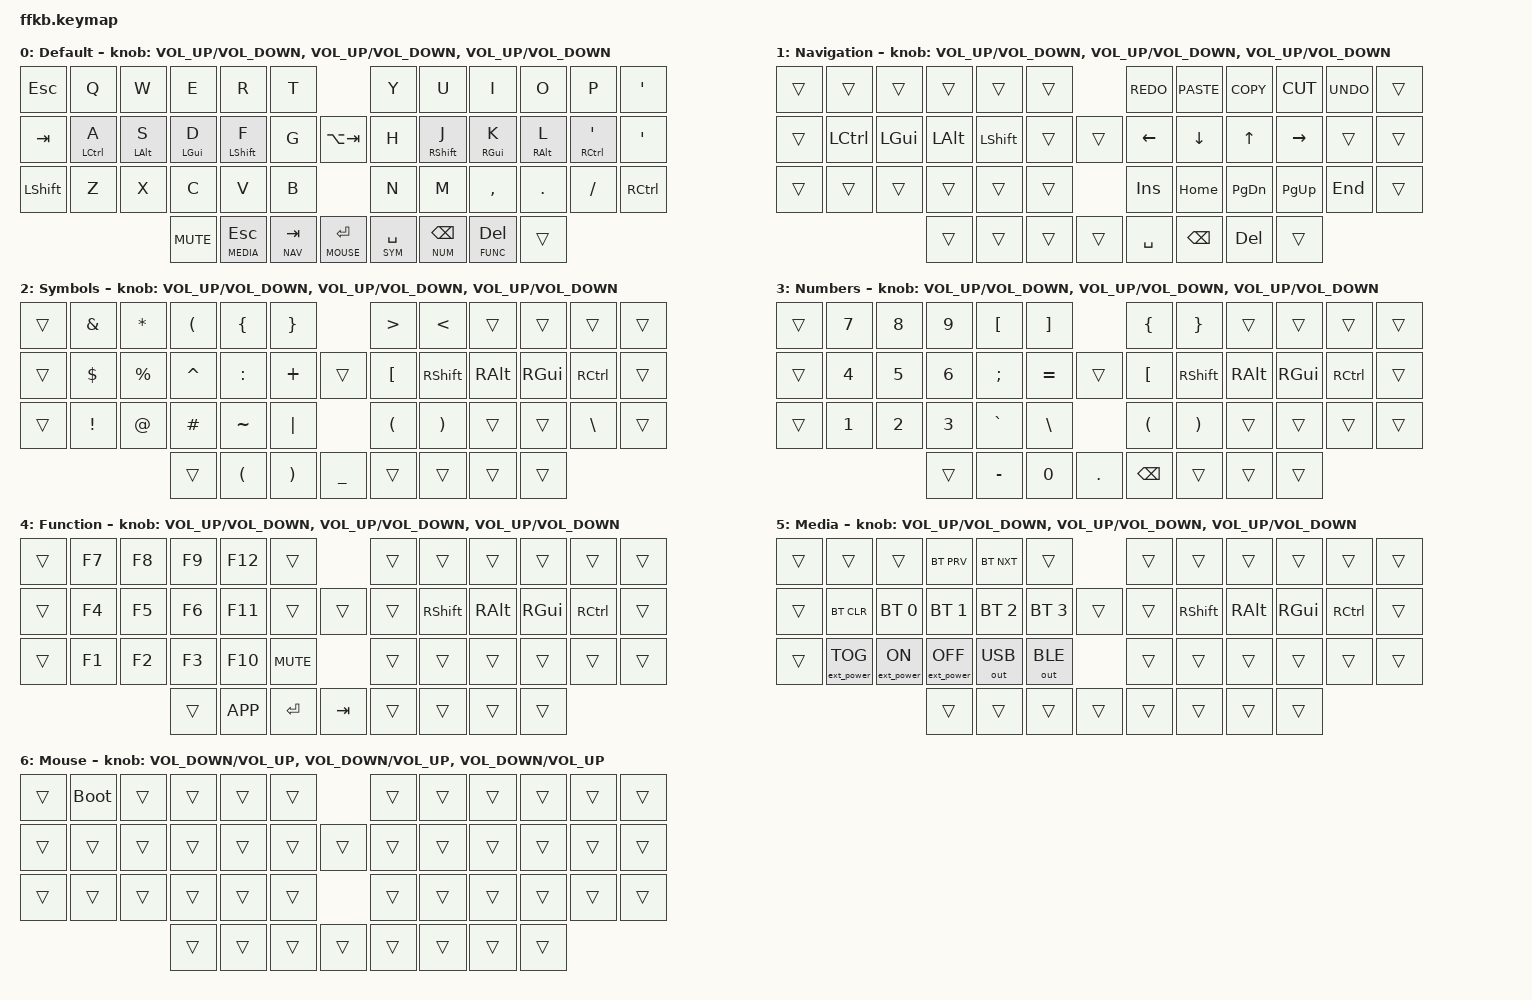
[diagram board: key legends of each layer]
#include <behaviors.dtsi>
#include <dt-bindings/zmk/keys.h>
#include <dt-bindings/zmk/rgb.h>
#include <dt-bindings/zmk/bt.h>
#include <dt-bindings/zmk/ext_power.h>
#include <dt-bindings/zmk/outputs.h>

#define DEFAULT 0
#define NAV     1
#define SYM     2
#define NUM     3
#define FUNC    4
#define MEDIA   5
#define MOUSE   6

&caps_word {
    continue-list = <UNDERSCORE MINUS>;
};

/ {
    combos {
        compatible = "zmk,combos";
        combo_undo {
            timeout-ms = <50>;
            key-positions = <26 27>;
            bindings = <&kp LC(Z)>;
        };
        combo_q {
            timeout-ms = <50>;
            key-positions = <27 28>;
            bindings = <&kp Q>;
        };
        combo_semicolon {
            timeout-ms = <50>;
            key-positions = <33 34>;
            bindings = <&kp SEMI>;
        };
    };
};

/ {

    sensors {
        compatible = "zmk,keymap-sensors";
        sensors = <&encoder_1 &encoder_2 &encoder_3>;
    };

    behaviors {
        hm: homerow_mods {
            compatible = "zmk,behavior-hold-tap";
            label = "HOMEROW_MODS";
            #binding-cells = <2>;
            tapping-term-ms = <200>;
            quick_tap_ms = <0>;
            flavor = "balanced";
            bindings = <&kp>, <&kp>;
        };
        hs: homerow_shift {
            compatible = "zmk,behavior-hold-tap";
            label = "HOMEROW_MODS";
            #binding-cells = <2>;
            tapping-term-ms = <175>;
            quick_tap_ms = <0>;
            flavor = "balanced";
            bindings = <&kp>, <&kp>;
        };
    };

    keymap {
        compatible = "zmk,keymap";

        default_layer {
            label = "Default";

            sensor-bindings = <&inc_dec_kp C_VOLUME_UP C_VOLUME_DOWN &inc_dec_kp C_VOLUME_UP C_VOLUME_DOWN &inc_dec_kp C_VOLUME_UP C_VOLUME_DOWN>;

            bindings = <
    &kp ESC    &kp Q        &kp W       &kp E       &kp R           &kp T                                       &kp Y         &kp U        &kp I         &kp O       &kp P    &kp SQT
    &kp TAB    &hm LCTRL A   &hm LALT S  &hm LGUI D  &hs LSHIFT F    &kp G            &kp LA(TAB)                &kp H         &hs RSHIFT J   &hm RGUI K    &hm RALT L  &hm RCTRL SQT  &kp SQT
    &kp LSHIFT &kp Z        &kp X       &kp C       &kp V           &kp B                                       &kp N         &kp M        &kp COMMA     &kp DOT     &kp FSLH    &kp RCTRL
                                        &kp C_MUTE  &lt MEDIA ESC   &lt NAV TAB  &lt MOUSE RET  &lt SYM SPACE    &lt NUM BSPC   &lt FUNC DEL  &trans
            >;
        };
        nav_layer {
            label = "Navigation";
            
            sensor-bindings = <&inc_dec_kp C_VOLUME_UP C_VOLUME_DOWN &inc_dec_kp C_VOLUME_UP C_VOLUME_DOWN &inc_dec_kp C_VOLUME_UP C_VOLUME_DOWN>;
            
            bindings = <
    &trans     &trans       &trans      &trans      &trans        &trans                                      &kp K_REDO    &kp K_PASTE  &kp K_COPY    &kp K_CUT   &kp K_UNDO  &trans
    &trans     &kp LCTRL     &kp LGUI    &kp LALT    &kp LSHIFT    &trans              &trans                  &kp LEFT      &kp DOWN     &kp UP      &kp RIGHT      &trans   &trans
    &trans     &trans       &trans      &trans      &trans        &trans                                      &kp INSERT    &kp HOME     &kp PG_DN     &kp PG_UP   &kp END     &trans
                                        &trans      &trans        &trans       &trans       &kp SPACE          &kp BSPC     &kp DEL      &trans
            >;
        };

        sym_layer {
            label = "Symbols";
            
            sensor-bindings = <&inc_dec_kp C_VOLUME_UP C_VOLUME_DOWN &inc_dec_kp C_VOLUME_UP C_VOLUME_DOWN &inc_dec_kp C_VOLUME_UP C_VOLUME_DOWN>;
            
            bindings = <
    &trans     &kp AMPS     &kp ASTRK   &kp LPAR     &kp LBRC     &kp RBRC                               &kp GT        &kp LT            &trans      &trans      &trans      &trans
    &trans     &kp DLLR     &kp PRCNT   &kp CARET    &kp COLON    &kp PLUS             &trans            &kp LBKT      &kp RSHIFT        &kp RALT    &kp RGUI    &kp RCTRL    &trans
    &trans     &kp EXCL     &kp AT      &kp HASH     &kp TILDE    &kp PIPE                               &kp LPAR      &kp RPAR          &trans         &trans      &kp BSLH    &trans
                                        &trans       &kp LPAR     &kp RPAR     &kp UNDER    &trans     &trans        &trans            &trans
            >;
        };

        num_layer {
            label = "Numbers";
          
            sensor-bindings = <&inc_dec_kp C_VOLUME_UP C_VOLUME_DOWN &inc_dec_kp C_VOLUME_UP C_VOLUME_DOWN &inc_dec_kp C_VOLUME_UP C_VOLUME_DOWN>;
          

            bindings = <
    &trans    &kp N7    &kp N8    &kp N9    &kp LBKT   &kp RBKT                         &kp LBRC      &kp RBRC       &trans         &trans        &trans         &trans
    &trans    &kp N4    &kp N5    &kp N6    &kp SEMI   &kp EQUAL         &trans         &kp LBKT      &kp RSHIFT     &kp RALT       &kp RGUI      &kp RCTRL      &trans
    &trans    &kp N1    &kp N2    &kp N3    &kp GRAVE  &kp BSLH                         &kp LPAR      &kp RPAR       &trans         &trans        &trans         &trans
                                &trans    &kp MINUS   &kp N0   &kp PERIOD     &kp BSPC     &trans        &trans         &trans
            >;
        };

        func_layer {
            label = "Function";

            sensor-bindings = <&inc_dec_kp C_VOLUME_UP C_VOLUME_DOWN &inc_dec_kp C_VOLUME_UP C_VOLUME_DOWN &inc_dec_kp C_VOLUME_UP C_VOLUME_DOWN>;
            
            bindings = <
    &trans     &kp F7    &kp F8    &kp F9     &kp F12    &trans                        &trans           &trans        &trans      &trans      &trans      &trans
    &trans     &kp F4    &kp F5    &kp F6     &kp F11    &trans            &trans      &trans     &kp RSHIFT    &kp RALT    &kp RGUI    &kp RCTRL    &trans
    &trans     &kp F1    &kp F2    &kp F3     &kp F10    &kp C_MUTE                    &trans     &trans        &trans      &trans      &trans      &trans
                                   &trans     &kp K_APP   &kp RET    &kp TAB        &trans      &trans           &trans     &trans
            >;
        };

        media_layer {
            label = "Media";
            
            sensor-bindings = <&inc_dec_kp C_VOLUME_UP C_VOLUME_DOWN &inc_dec_kp C_VOLUME_UP C_VOLUME_DOWN &inc_dec_kp C_VOLUME_UP C_VOLUME_DOWN>;
            
            bindings = <
    &trans     &trans             &trans            &bt BT_PRV         &bt BT_NXT     &trans                            &trans    &trans        &trans      &trans      &trans    &trans
    &trans     &bt BT_CLR         &bt BT_SEL 0      &bt BT_SEL 1       &bt BT_SEL 2   &bt BT_SEL 3       &trans         &trans    &kp RSHIFT    &kp RALT    &kp RGUI    &kp RCTRL  &trans
    &trans     &ext_power EP_TOG  &ext_power EP_ON  &ext_power EP_OFF  &out OUT_USB   &out OUT_BLE                      &trans    &trans        &trans      &trans      &trans    &trans
                                                    &trans             &trans         &trans             &trans         &trans    &trans        &trans     &trans
            >;
        };

        mouse_layer {
            label = "Mouse";
            
            sensor-bindings = <&inc_dec_kp C_VOLUME_DOWN C_VOLUME_UP &inc_dec_kp C_VOLUME_DOWN C_VOLUME_UP &inc_dec_kp C_VOLUME_DOWN C_VOLUME_UP>;
            
            bindings = <
    &trans     &bootloader   &trans      &trans      &trans      &trans                                           &trans      &trans      &trans      &trans      &trans      &trans
    &trans     &trans      &trans      &trans      &trans      &trans                   &trans                  &trans      &trans      &trans      &trans      &trans      &trans
    &trans     &trans      &trans      &trans      &trans      &trans                                           &trans      &trans      &trans      &trans      &trans      &trans
                                         &trans      &trans        &trans        &trans         &trans          &trans      &trans      &trans
            >;
        };
    };
};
